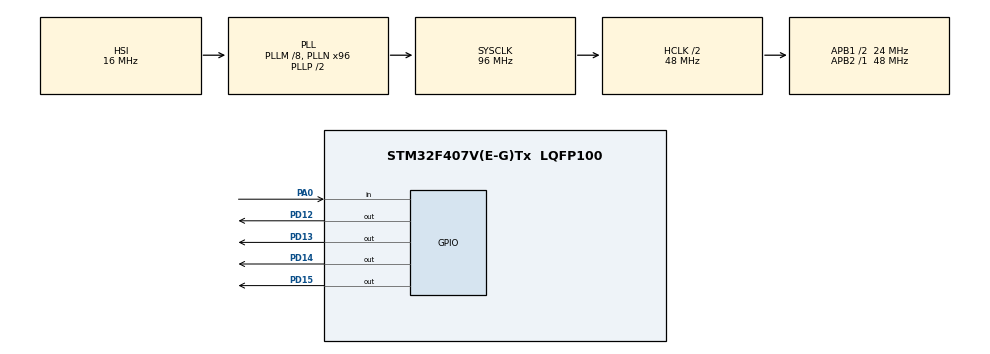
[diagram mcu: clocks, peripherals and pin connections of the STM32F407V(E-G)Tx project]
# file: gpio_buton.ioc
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Mcu.Family=STM32F4
Mcu.Name=STM32F407V(E-G)Tx
Mcu.Package=LQFP100
NVIC.PriorityGroup=NVIC_PRIORITYGROUP_4
PA0-WKUP.GPIO_PuPd=GPIO_PULLDOWN
PA0-WKUP.Signal=GPIO_Input
PA13.Mode=Serial_Wire
PA13.Signal=SYS_JTMS-SWDIO
PA14.Mode=Serial_Wire
PA14.Signal=SYS_JTCK-SWCLK
PD12.Signal=GPIO_Output
PD13.Signal=GPIO_Output
PD14.Signal=GPIO_Output
PD15.Signal=GPIO_Output
ProjectManager.HeapSize=0x200
ProjectManager.StackSize=0x400
ProjectManager.TargetToolchain=MDK-ARM V5
RCC.48MHZClocksFreq_Value=48000000
RCC.AHBCLKDivider=RCC_SYSCLK_DIV2
RCC.AHBFreq_Value=48000000
RCC.APB1CLKDivider=RCC_HCLK_DIV2
RCC.APB1Freq_Value=24000000
RCC.APB1TimFreq_Value=48000000
RCC.APB2Freq_Value=48000000
RCC.APB2TimFreq_Value=48000000
RCC.CortexFreq_Value=48000000
RCC.HCLKFreq_Value=48000000
RCC.HSE_VALUE=25000000
RCC.HSI_VALUE=16000000
RCC.LSE_VALUE=32768
RCC.PLLM=8
RCC.PLLN=96
RCC.SYSCLKFreq_VALUE=96000000
RCC.SYSCLKSource=RCC_SYSCLKSOURCE_PLLCLK
RCC.VCOOutputFreq_Value=192000000
board=gpio_buton

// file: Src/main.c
/**
  ******************************************************************************
  * File Name          : main.c
  * Description        : Main program body
  ******************************************************************************
  ** This notice applies to any and all portions of this file
  * that are not between comment pairs USER CODE BEGIN and
  * USER CODE END. Other portions of this file, whether
  * inserted by the user or by software development tools
  * are owned by their respective copyright owners.
  *
  * COPYRIGHT(c) 2018 STMicroelectronics
  *
  * Redistribution and use in source and binary forms, with or without modification,
  * are permitted provided that the following conditions are met:
  *   1. Redistributions of source code must retain the above copyright notice,
  *      this list of conditions and the following disclaimer.
  *   2. Redistributions in binary form must reproduce the above copyright notice,
  *      this list of conditions and the following disclaimer in the documentation
  *      and/or other materials provided with the distribution.
  *   3. Neither the name of STMicroelectronics nor the names of its contributors
  *      may be used to endorse or promote products derived from this software
  *      without specific prior written permission.
  *
  * THIS SOFTWARE IS PROVIDED BY THE COPYRIGHT HOLDERS AND CONTRIBUTORS "AS IS"
  * AND ANY EXPRESS OR IMPLIED WARRANTIES, INCLUDING, BUT NOT LIMITED TO, THE
  * IMPLIED WARRANTIES OF MERCHANTABILITY AND FITNESS FOR A PARTICULAR PURPOSE ARE
  * DISCLAIMED. IN NO EVENT SHALL THE COPYRIGHT HOLDER OR CONTRIBUTORS BE LIABLE
  * FOR ANY DIRECT, INDIRECT, INCIDENTAL, SPECIAL, EXEMPLARY, OR CONSEQUENTIAL
  * DAMAGES (INCLUDING, BUT NOT LIMITED TO, PROCUREMENT OF SUBSTITUTE GOODS OR
  * SERVICES; LOSS OF USE, DATA, OR PROFITS; OR BUSINESS INTERRUPTION) HOWEVER
  * CAUSED AND ON ANY THEORY OF LIABILITY, WHETHER IN CONTRACT, STRICT LIABILITY,
  * OR TORT (INCLUDING NEGLIGENCE OR OTHERWISE) ARISING IN ANY WAY OUT OF THE USE
  * OF THIS SOFTWARE, EVEN IF ADVISED OF THE POSSIBILITY OF SUCH DAMAGE.
  *
  ******************************************************************************
  */
#include "main.h"
#include "stm32f4xx_hal.h"

  int button=0,i=0;
/* USER CODE BEGIN PV */
/* Private variables ---------------------------------------------------------*/

/* USER CODE END PV */

void SystemClock_Config(void);
static void MX_GPIO_Init(void);

/* USER CODE BEGIN PFP */
/* Private function prototypes -----------------------------------------------*/

		void button_led()
		{
		   button =HAL_GPIO_ReadPin(GPIOA,GPIO_PIN_0); // butonu pinA0 a atadik

			if(button)
			{
				HAL_Delay(250); // buton arc i için 250ms gecikme
				i++;

				if(i>4)
					i=0;
				if (i==1)
					HAL_GPIO_WritePin(GPIOD,GPIO_PIN_12,GPIO_PIN_SET);
				else if(i==2)
				HAL_GPIO_WritePin(GPIOD,GPIO_PIN_13,GPIO_PIN_SET);
				else if(i==3)
				HAL_GPIO_WritePin(GPIOD,GPIO_PIN_14,GPIO_PIN_SET);
				else if(i==4)
				HAL_GPIO_WritePin(GPIOD,GPIO_PIN_15,GPIO_PIN_SET);
				else
				HAL_GPIO_WritePin(GPIOD,GPIO_PIN_12|GPIO_PIN_13|GPIO_PIN_14|GPIO_PIN_15,GPIO_PIN_RESET);
			}

		}
/* USER CODE END PFP */

int main(void)
{

  /* MCU Configuration----------------------------------------------------------*/

  /* Reset of all peripherals, Initializes the Flash interface and the Systick. */
  HAL_Init();

  /* Configure the system clock */
  SystemClock_Config();

  /* Initialize all configured peripherals */
  MX_GPIO_Init();

  /* Infinite loop */
  while (1)
  {
	button_led();

  }

}

/** System Clock Configuration
*/
void SystemClock_Config(void)
{

  RCC_OscInitTypeDef RCC_OscInitStruct;
  RCC_ClkInitTypeDef RCC_ClkInitStruct;

    /**Configure the main internal regulator output voltage
    */
  __HAL_RCC_PWR_CLK_ENABLE();

  __HAL_PWR_VOLTAGESCALING_CONFIG(PWR_REGULATOR_VOLTAGE_SCALE1);

    /**Initializes the CPU, AHB and APB busses clocks
    */
  RCC_OscInitStruct.OscillatorType = RCC_OSCILLATORTYPE_HSI;
  RCC_OscInitStruct.HSIState = RCC_HSI_ON;
  RCC_OscInitStruct.HSICalibrationValue = 16;
  RCC_OscInitStruct.PLL.PLLState = RCC_PLL_ON;
  RCC_OscInitStruct.PLL.PLLSource = RCC_PLLSOURCE_HSI;
  RCC_OscInitStruct.PLL.PLLM = 8;
  RCC_OscInitStruct.PLL.PLLN = 96;
  RCC_OscInitStruct.PLL.PLLP = RCC_PLLP_DIV2;
  RCC_OscInitStruct.PLL.PLLQ = 4;
  if (HAL_RCC_OscConfig(&RCC_OscInitStruct) != HAL_OK)
  {
    _Error_Handler(__FILE__, __LINE__);
  }

    /**Initializes the CPU, AHB and APB busses clocks
    */
  RCC_ClkInitStruct.ClockType = RCC_CLOCKTYPE_HCLK|RCC_CLOCKTYPE_SYSCLK
                              |RCC_CLOCKTYPE_PCLK1|RCC_CLOCKTYPE_PCLK2;
  RCC_ClkInitStruct.SYSCLKSource = RCC_SYSCLKSOURCE_PLLCLK;
  RCC_ClkInitStruct.AHBCLKDivider = RCC_SYSCLK_DIV2;
  RCC_ClkInitStruct.APB1CLKDivider = RCC_HCLK_DIV2;
  RCC_ClkInitStruct.APB2CLKDivider = RCC_HCLK_DIV1;

  if (HAL_RCC_ClockConfig(&RCC_ClkInitStruct, FLASH_LATENCY_1) != HAL_OK)
  {
    _Error_Handler(__FILE__, __LINE__);
  }

    /**Configure the Systick interrupt time
    */
  HAL_SYSTICK_Config(HAL_RCC_GetHCLKFreq()/1000);

    /**Configure the Systick
    */
  HAL_SYSTICK_CLKSourceConfig(SYSTICK_CLKSOURCE_HCLK);

  /* SysTick_IRQn interrupt configuration */
  HAL_NVIC_SetPriority(SysTick_IRQn, 0, 0);
}

/** Configure pins as
        * Analog
        * Input
        * Output
        * EVENT_OUT
        * EXTI
*/
static void MX_GPIO_Init(void)
{

  GPIO_InitTypeDef GPIO_InitStruct;

  /* GPIO Ports Clock Enable */
  __HAL_RCC_GPIOA_CLK_ENABLE();
  __HAL_RCC_GPIOD_CLK_ENABLE();

  /*Configure GPIO pin Output Level */
  HAL_GPIO_WritePin(GPIOD, GPIO_PIN_12|GPIO_PIN_13|GPIO_PIN_14|GPIO_PIN_15, GPIO_PIN_RESET);

  /*Configure GPIO pin : PA0 */
  GPIO_InitStruct.Pin = GPIO_PIN_0;
  GPIO_InitStruct.Mode = GPIO_MODE_INPUT;
  GPIO_InitStruct.Pull = GPIO_PULLDOWN;
  HAL_GPIO_Init(GPIOA, &GPIO_InitStruct);

  /*Configure GPIO pins : PD12 PD13 PD14 PD15 */
  GPIO_InitStruct.Pin = GPIO_PIN_12|GPIO_PIN_13|GPIO_PIN_14|GPIO_PIN_15;
  GPIO_InitStruct.Mode = GPIO_MODE_OUTPUT_PP;
  GPIO_InitStruct.Pull = GPIO_NOPULL;
  GPIO_InitStruct.Speed = GPIO_SPEED_FREQ_LOW;
  HAL_GPIO_Init(GPIOD, &GPIO_InitStruct);

}

void _Error_Handler(char * file, int line)
{
  while(1)
  {
  }
}

/************************ (C) COPYRIGHT STMicroelectronics *****END OF FILE****/
